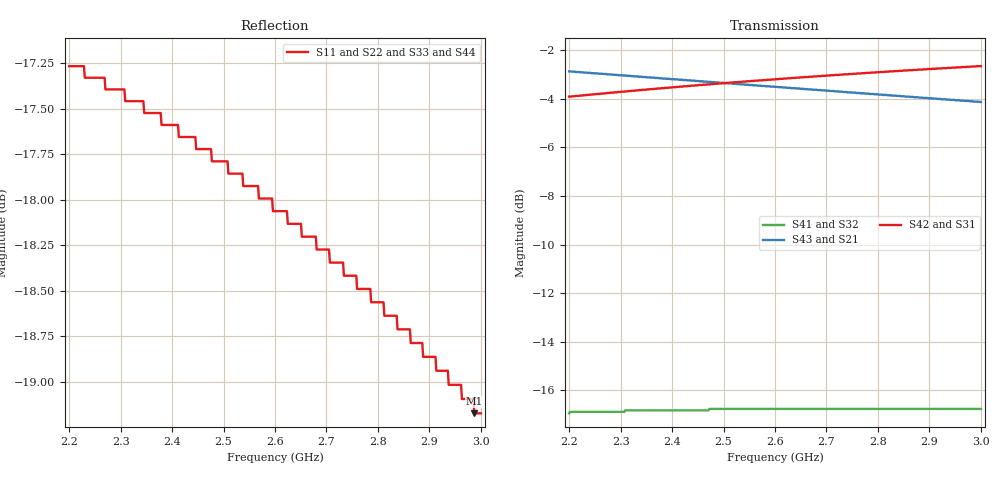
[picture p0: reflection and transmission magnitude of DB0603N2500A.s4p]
!	AVX	THIN	FILM	OPERATION
!	0603	SIZE	3dB	90deg	COUPLER	P/N	DB0603N2500ANTR
!	Created	october	2010
!	Network	Analyzer	HP8720E	S.07.64:	"Feb23,"	2000	Serial	No.US39172382
# MHZ S MA R 50
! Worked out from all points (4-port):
!   500 points, 2.2 GHz to 3 GHz, reference 50 ohm
!   strongest paths, dB at 2.2 GHz, 2.4 GHz, 2.601 GHz, 2.801 GHz, 3 GHz:
!     S42: -3.9, -3.5, -3.2, -2.9, -2.7
!     S31: -3.9, -3.5, -3.2, -2.9, -2.7
!     S43: -2.9, -3.2, -3.5, -3.8, -4.1
!     S21: -2.9, -3.2, -3.5, -3.8, -4.1
!     S41: -17.0, -16.8, -16.8, -16.8, -16.8
!     S32: -17.0, -16.8, -16.8, -16.8, -16.8
!   lowest |S11| = -19.2 dB at 2.987 GHz (marker M1), VSWR 1.25, Z = 40.3 - j2.02 ohm
!   |S11| at or under -10 dB: start of sweep to end of sweep
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2200  0.137 -159.5  0.719 -46.2  0.638 41.6  0.142 -17.0
      0.719 -46.2  0.137 -159.5  0.142 -17.0  0.638 41.6
      0.638 41.6  0.142 -17.0  0.137 -159.5  0.719 -46.2
      0.142 -17.0  0.638 41.6  0.719 -46.2  0.137 -159.5
2341.082  0.134 -161.7  0.701 -48.2  0.658 39.7  0.144 -21.8
          0.701 -48.2  0.134 -161.7  0.144 -21.8  0.658 39.7
          0.658 39.7  0.144 -21.8  0.134 -161.7  0.701 -48.2
          0.144 -21.8  0.658 39.7  0.701 -48.2  0.134 -161.7
2349.098  0.133 -161.8  0.7 -48.3  0.659 39.6  0.144 -22.1
          0.7 -48.3  0.133 -161.8  0.144 -22.1  0.659 39.6
          0.659 39.6  0.144 -22.1  0.133 -161.8  0.7 -48.3
          0.144 -22.1  0.659 39.6  0.7 -48.3  0.133 -161.8
2563.928  0.127 -164.4  0.673 -51.2  0.688 36.9  0.145 -29.0
          0.673 -51.2  0.127 -164.4  0.145 -29.0  0.688 36.9
          0.688 36.9  0.145 -29.0  0.127 -164.4  0.673 -51.2
          0.145 -29.0  0.688 36.9  0.673 -51.2  0.127 -164.4
2807.615  0.118 -166.4  0.644 -54.3  0.717 34.1  0.145 -36.5
          0.644 -54.3  0.118 -166.4  0.145 -36.5  0.717 34.1
          0.717 34.1  0.145 -36.5  0.118 -166.4  0.644 -54.3
          0.145 -36.5  0.717 34.1  0.644 -54.3  0.118 -166.4
2987.174  0.11 -167.0  0.623 -56.5  0.736 32.1  0.145 -41.6
          0.623 -56.5  0.11 -167.0  0.145 -41.6  0.736 32.1
          0.736 32.1  0.145 -41.6  0.11 -167.0  0.623 -56.5
          0.145 -41.6  0.736 32.1  0.623 -56.5  0.11 -167.0
3000  0.11 -167.0  0.622 -56.6  0.737 32.0  0.145 -42.0
      0.622 -56.6  0.11 -167.0  0.145 -42.0  0.737 32.0
      0.737 32.0  0.145 -42.0  0.11 -167.0  0.622 -56.6
      0.145 -42.0  0.737 32.0  0.622 -56.6  0.11 -167.0
